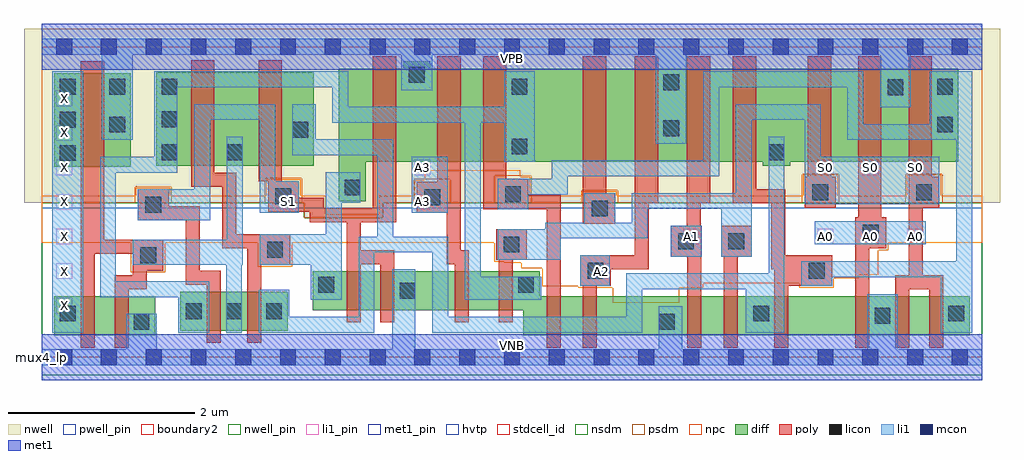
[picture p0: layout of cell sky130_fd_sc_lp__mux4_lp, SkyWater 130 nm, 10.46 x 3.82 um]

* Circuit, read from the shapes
.subckt sky130_fd_sc_lp__mux4_lp A0 A1 A2 A3 S0 S1 VGND VNB VPB VPWR X
XM1 n1 n2 X VNB sky130_fd_pr__nfet_01v8 w=0.42 l=0.15
XM2 VGND n2 n1 VNB sky130_fd_pr__nfet_01v8 w=0.42 l=0.15
XM3 n2 S1 n3 VNB sky130_fd_pr__nfet_01v8 w=0.42 l=0.15
XM4 n4 n5 n2 VNB sky130_fd_pr__nfet_01v8 w=0.42 l=0.15
XM5 n6 S1 n5 VNB sky130_fd_pr__nfet_01v8 w=0.42 l=0.15
XM6 VGND S1 n6 VNB sky130_fd_pr__nfet_01v8 w=0.42 l=0.15
XM7 n7 A3 VGND VNB sky130_fd_pr__nfet_01v8 w=0.42 l=0.15
XM8 n3 S0 n7 VNB sky130_fd_pr__nfet_01v8 w=0.42 l=0.15
XM9 n8 n9 n3 VNB sky130_fd_pr__nfet_01v8 w=0.42 l=0.15
XM10 VGND A2 n8 VNB sky130_fd_pr__nfet_01v8 w=0.42 l=0.15
XM11 n10 A1 VGND VNB sky130_fd_pr__nfet_01v8 w=0.42 l=0.15
XM12 n4 S0 n10 VNB sky130_fd_pr__nfet_01v8 w=0.42 l=0.15
XM13 n11 n9 n4 VNB sky130_fd_pr__nfet_01v8 w=0.42 l=0.15
XM14 VGND A0 n11 VNB sky130_fd_pr__nfet_01v8 w=0.42 l=0.15
XM15 n12 S0 VGND VNB sky130_fd_pr__nfet_01v8 w=0.42 l=0.15
XM16 n9 S0 n12 VNB sky130_fd_pr__nfet_01v8 w=0.42 l=0.15
XM17 VPWR n2 X VPB sky130_fd_pr__pfet_01v8_hvt w=1 l=0.25
XM18 n2 n5 n3 VPB sky130_fd_pr__pfet_01v8_hvt w=1 l=0.25
XM19 n4 S1 n2 VPB sky130_fd_pr__pfet_01v8_hvt w=1 l=0.25
XM20 VPWR S1 n5 VPB sky130_fd_pr__pfet_01v8_hvt w=1 l=0.25
XM21 n13 A3 VPWR VPB sky130_fd_pr__pfet_01v8_hvt w=1 l=0.25
XM22 n3 n9 n13 VPB sky130_fd_pr__pfet_01v8_hvt w=1 l=0.25
XM23 n14 S0 n3 VPB sky130_fd_pr__pfet_01v8_hvt w=1 l=0.25
XM24 VPWR A2 n14 VPB sky130_fd_pr__pfet_01v8_hvt w=1 l=0.25
XM25 n15 A1 VPWR VPB sky130_fd_pr__pfet_01v8_hvt w=1 l=0.25
XM26 n4 n9 n15 VPB sky130_fd_pr__pfet_01v8_hvt w=1 l=0.25
XM27 n16 S0 n4 VPB sky130_fd_pr__pfet_01v8_hvt w=1 l=0.25
XM28 VPWR A0 n16 VPB sky130_fd_pr__pfet_01v8_hvt w=1 l=0.25
XM29 n9 S0 VPWR VPB sky130_fd_pr__pfet_01v8_hvt w=1 l=0.25
.ends

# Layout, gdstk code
import gdstk
lib = gdstk.Library(unit=1e-6, precision=1e-09)
def R(c, l, rs):  # rectangles x0, y0, x1, y1
    for r in rs: c.add(gdstk.rectangle(r[:2], r[2:], *l))
def A(c, l, x, y, w, h, nx, ny, dx, dy):  # array of equal rectangles
    R(c, l, [(x+i*dx, y+j*dy, x+i*dx+w, y+j*dy+h) for i in range(nx) for j in range(ny)])
def P(c, l, *ps):  # polygons
    for p in ps: c.add(gdstk.Polygon(p, *l))
nwell_pin = (64, 16)
nwell = (64, 20)
diff = (65, 20)
poly = (66, 20)
licon = (66, 44)
li1_pin = (67, 16)
li1 = (67, 20)
mcon = (67, 44)
met1_pin = (68, 16)
met1 = (68, 20)
hvtp = (78, 44)
stdcell_id = (81, 4)
nsdm = (93, 44)
psdm = (94, 20)
npc = (95, 20)
pwell_pin = (122, 16)
boundary2 = (236, 0)

sky130_fd_sc_lp__mux4_lp = lib.new_cell('sky130_fd_sc_lp__mux4_lp')
R(sky130_fd_sc_lp__mux4_lp, nwell_pin, [(0,3.085,10.08,3.33)])
P(sky130_fd_sc_lp__mux4_lp, nwell, [(10.27,3.52),(-0.19,3.52),(-0.19,1.655),(2.815,1.655),(2.815,1.495),(3.655,1.495),(3.655,1.655),(10.27,1.655)])
R(sky130_fd_sc_lp__mux4_lp, diff, [(0.135,0.235,1.215,0.655), (1.485,0.285,2.635,0.705), (0.135,2.045,0.955,3.045), (1.225,2.055,2.915,3.055)])
P(sky130_fd_sc_lp__mux4_lp, diff, [(9.825,3.095),(4.165,3.095),(4.165,3.175),(3.875,3.175),(3.875,3.095),(3.185,3.095),(3.185,1.675),(3.475,1.675),(3.475,2.095),(7.73,2.095),(7.73,2.055),(8.02,2.055),(8.02,2.095),(9.825,2.095)],
  [(9.945,0.655),(5.335,0.655),(5.335,0.925),(2.905,0.925),(2.905,0.505),(5.16,0.505),(5.16,0.235),(9.945,0.235)])
P(sky130_fd_sc_lp__mux4_lp, poly, [(1.305,1.26),(0.67,1.26),(0.67,3.175),(0.42,3.175),(0.42,0.105),(0.57,0.105),(0.57,1.11),(0.975,1.11),(0.975,0.88),(0.78,0.88),(0.78,0.105),(0.93,0.105),(0.93,0.73),(1.125,0.73),(1.125,0.93),(1.305,0.93)],
  [(1.92,0.93),(1.695,0.93),(1.695,1.62),(1.36,1.62),(1.36,1.8),(1.03,1.8),(1.03,1.47),(1.545,1.47),(1.545,0.78),(1.77,0.78),(1.77,0.155),(1.92,0.155)],
  [(2.665,1.32),(2.085,1.32),(2.085,1.98),(1.85,1.98),(1.85,3.185),(1.6,3.185),(1.6,1.83),(1.935,1.83),(1.935,1.17),(2.2,1.17),(2.2,0.155),(2.35,0.155),(2.35,0.99),(2.665,0.99)],
  [(3.8,3.225),(3.55,3.225),(3.55,1.6),(3.025,1.6),(3.025,1.71),(2.755,1.71),(2.755,1.89),(2.575,1.89),(2.575,3.185),(2.325,3.185),(2.325,1.89),(2.425,1.89),(2.425,1.56),(2.875,1.56),(2.875,1.45),(3.27,1.45),(3.27,0.375),(3.42,0.375),(3.42,1),(3.63,1),(3.63,0.375),(3.78,0.375),(3.78,1.15),(3.42,1.15),(3.42,1.45),(3.8,1.45)],
  [(4.575,1.15),(4.49,1.15),(4.49,3.225),(4.24,3.225),(4.24,1.88),(4.02,1.88),(4.02,1.55),(4.34,1.55),(4.34,1),(4.425,1),(4.425,0.375),(4.575,0.375)],
  [(5.2,1.375),(4.87,1.375),(4.87,1.045),(4.9,1.045),(4.9,0.375),(5.05,0.375),(5.05,1.045),(5.2,1.045)],
  [(5.56,1.735),(5.215,1.735),(5.215,1.915),(4.98,1.915),(4.98,3.225),(4.73,3.225),(4.73,1.585),(5.41,1.585),(5.41,0.105),(5.56,0.105)],
  [(6.145,1.76),(6.05,1.76),(6.05,3.225),(5.8,3.225),(5.8,1.43),(6.145,1.43)],
  [(6.605,3.225),(6.355,3.225),(6.355,1.095),(5.77,1.095),(5.77,0.765),(5.8,0.765),(5.8,0.105),(5.95,0.105),(5.95,0.765),(6.1,0.765),(6.1,0.945),(6.505,0.945),(6.505,1.65),(6.605,1.65)],
  [(7.165,3.225),(6.915,3.225),(6.915,1.41),(6.74,1.41),(6.74,1.08),(6.92,1.08),(6.92,0.105),(7.07,0.105),(7.07,1.41),(7.065,1.41),(7.065,1.65),(7.165,1.65)],
  [(7.61,1.41),(7.28,1.41),(7.28,1.08),(7.31,1.08),(7.31,0.105),(7.46,0.105),(7.46,1.08),(7.61,1.08)],
  [(8.47,1.095),(7.97,1.095),(7.97,1.8),(7.655,1.8),(7.655,3.225),(7.405,3.225),(7.405,1.65),(7.82,1.65),(7.82,0.945),(7.85,0.945),(7.85,0.105),(8,0.105),(8,0.765),(8.47,0.765)],
  [(8.51,1.935),(8.46,1.935),(8.46,3.225),(8.21,3.225),(8.21,1.935),(8.18,1.935),(8.18,1.605),(8.51,1.605)],
  [(9.05,1.5),(9,1.5),(9,3.225),(8.75,3.225),(8.75,1.5),(8.72,1.5),(8.72,0.105),(8.87,0.105),(8.87,1.17),(9.05,1.17)],
  [(9.66,0.88),(9.44,0.88),(9.44,1.605),(9.62,1.605),(9.62,1.935),(9.54,1.935),(9.54,3.225),(9.29,3.225),(9.29,0.88),(9.15,0.88),(9.15,0.105),(9.3,0.105),(9.3,0.73),(9.51,0.73),(9.51,0.105),(9.66,0.105)])
A(sky130_fd_sc_lp__mux4_lp, licon, 1.545, 0.41, 0.17, 0.17, 3, 1, 0.43, 0)
A(sky130_fd_sc_lp__mux4_lp, licon, 0.195, 2.105, 0.17, 0.17, 1, 3, 0, 0.355)
A(sky130_fd_sc_lp__mux4_lp, licon, 1.285, 2.115, 0.17, 0.17, 1, 3, 0, 0.35)
R(sky130_fd_sc_lp__mux4_lp, licon, [(0.985,0.295,1.155,0.465), (6.615,0.295,6.785,0.465), (8.925,0.36,9.095,0.53), (0.195,0.385,0.365,0.555), (7.625,0.385,7.795,0.555), (9.715,0.385,9.885,0.555), (3.835,0.63,4.005,0.8), (2.965,0.695,3.135,0.865), (5.105,0.695,5.275,0.865), (5.85,0.845,6.02,1.015), (8.22,0.845,8.39,1.015), (1.055,1.01,1.225,1.18), (2.415,1.07,2.585,1.24), (4.95,1.125,5.12,1.295), (6.82,1.16,6.99,1.33), (7.36,1.16,7.53,1.33), (8.8,1.25,8.97,1.42), (5.895,1.51,6.065,1.68), (1.11,1.55,1.28,1.72), (4.1,1.63,4.27,1.8), (2.505,1.64,2.675,1.81), (4.965,1.665,5.135,1.835), (8.26,1.685,8.43,1.855), (9.37,1.685,9.54,1.855), (3.245,1.735,3.415,1.905), (1.985,2.115,2.155,2.285), (7.79,2.115,7.96,2.285), (5.035,2.175,5.205,2.345), (2.685,2.355,2.855,2.525), (6.66,2.37,6.83,2.54), (0.725,2.41,0.895,2.58), (9.595,2.41,9.765,2.58), (9.065,2.81,9.235,2.98), (0.725,2.815,0.895,2.985), (5.035,2.815,5.205,2.985), (9.595,2.815,9.765,2.985), (6.66,2.865,6.83,3.035), (3.935,2.945,4.105,3.115)])
A(sky130_fd_sc_lp__mux4_lp, li1_pin, 0.155, 0.47, 0.17, 0.17, 1, 7, 0, 0.37)
A(sky130_fd_sc_lp__mux4_lp, li1_pin, 8.315, 1.21, 0.17, 0.17, 3, 2, 0.48, 0.74)
R(sky130_fd_sc_lp__mux4_lp, li1_pin, [(5.915,0.84,6.085,1.01), (6.875,1.21,7.045,1.38), (2.555,1.58,2.725,1.75), (3.995,1.58,4.165,1.75), (3.995,1.95,4.165,2.12)])
R(sky130_fd_sc_lp__mux4_lp, li1, [(0.115,0.265,0.445,3.065), (5.77,0.765,6.085,1.095), (6.74,1.08,7.075,1.41), (8.285,1.21,9.475,1.46), (3.965,1.55,4.35,2.15)])
P(sky130_fd_sc_lp__mux4_lp, li1, [(0.645,2.33),(0.645,3.245),(0,3.245),(0,3.415),(10.08,3.415),(10.08,3.245),(9.315,3.245),(9.315,2.68),(8.985,2.68),(8.985,3.245),(6.91,3.245),(6.91,2.29),(6.58,2.29),(6.58,3.245),(4.185,3.245),(4.185,2.865),(3.855,2.865),(3.855,3.245),(0.975,3.245),(0.975,2.33)],
  [(3.755,0.085),(3.755,0.945),(4.005,0.945),(4.005,0.085),(6.615,0.085),(6.615,0.55),(6.865,0.55),(6.865,0.085),(8.845,0.085),(8.845,0.675),(9.175,0.675),(9.175,0.085),(10.08,0.085),(10.08,-0.085),(0,-0.085),(0,0.085),(0.905,0.085),(0.905,0.465),(1.235,0.465),(1.235,0.085)],
  [(8.35,2.15),(9.62,2.15),(9.62,1.64),(8.18,1.64),(8.18,2.545),(7.61,2.545),(7.61,1.08),(7.28,1.08),(7.28,1.59),(6.495,1.59),(6.495,1.275),(5.565,1.275),(5.565,1.045),(4.885,1.045),(4.885,1.375),(5.395,1.375),(5.395,1.445),(5.815,1.445),(5.815,1.76),(6.145,1.76),(6.145,1.445),(6.325,1.445),(6.325,1.76),(7.44,1.76),(7.44,2.715),(8.35,2.715)],
  [(2.335,1.55),(2.335,2.545),(1.805,2.545),(1.805,1.47),(1.03,1.47),(1.03,1.8),(1.635,1.8),(1.635,2.715),(2.505,2.715),(2.505,1.89),(2.755,1.89),(2.755,1.55)],
  [(3.395,1.295),(3.595,1.295),(3.595,2.165),(2.685,2.165),(2.685,2.715),(2.935,2.715),(2.935,2.335),(3.765,2.335),(3.765,1.295),(4.355,1.295),(4.355,0.435),(6.265,0.435),(6.265,0.9),(7.79,0.9),(7.79,2.365),(7.96,2.365),(7.96,0.265),(7.545,0.265),(7.545,0.73),(6.435,0.73),(6.435,0.265),(4.185,0.265),(4.185,1.125),(3.565,1.125),(3.565,0.265),(2.325,0.265),(2.325,0.725),(2.655,0.725),(2.655,0.435),(3.395,0.435)],
  [(8.635,2.895),(7.26,2.895),(7.26,1.94),(5.635,1.94),(5.635,1.745),(5.215,1.745),(5.215,1.585),(4.885,1.585),(4.885,1.915),(5.465,1.915),(5.465,2.11),(7.09,2.11),(7.09,3.065),(8.805,3.065),(8.805,2.5),(9.515,2.5),(9.515,3.065),(9.97,3.065),(9.97,0.265),(9.635,0.265),(9.635,0.86),(8.47,0.86),(8.47,0.765),(8.14,0.765),(8.14,1.03),(9.8,1.03),(9.8,2.33),(8.635,2.33)],
  [(3.045,1.985),(3.415,1.985),(3.415,1.655),(3.215,1.655),(3.215,0.615),(2.885,0.615),(2.885,0.99),(2.335,0.99),(2.335,1.32),(3.045,1.32)],
  [(0.625,0.645),(0.625,2.15),(1.205,2.15),(1.205,3.065),(3.285,3.065),(3.285,2.685),(4.955,2.685),(4.955,3.065),(5.285,3.065),(5.285,2.095),(4.955,2.095),(4.955,2.515),(4.705,2.515),(4.705,0.865),(5.355,0.865),(5.355,0.615),(4.535,0.615),(4.535,2.515),(3.115,2.515),(3.115,2.895),(1.455,2.895),(1.455,1.98),(0.795,1.98),(0.795,0.815),(1.795,0.815),(1.795,0.265),(1.465,0.265),(1.465,0.645)],
  [(2.155,0.995),(2.145,0.995),(2.145,0.265),(1.975,0.265),(1.975,0.995),(0.975,0.995),(0.975,1.26),(1.985,1.26),(1.985,2.365),(2.155,2.365)])
A(sky130_fd_sc_lp__mux4_lp, mcon, 0.155, -0.085, 0.17, 0.17, 21, 2, 0.48, 3.33)
R(sky130_fd_sc_lp__mux4_lp, met1_pin, [(0,0,10.08,0.245), (0,3.085,10.08,3.33)])
R(sky130_fd_sc_lp__mux4_lp, met1, [(0,-0.245,10.08,0.245), (0,3.085,10.08,3.575)])
R(sky130_fd_sc_lp__mux4_lp, hvtp, [(0,1.6,10.08,3.33)])
R(sky130_fd_sc_lp__mux4_lp, stdcell_id, [(0,0,10.08,3.33)])
P(sky130_fd_sc_lp__mux4_lp, nsdm, [(10.08,1.655),(3.655,1.655),(3.655,1.495),(2.815,1.495),(2.815,1.655),(0,1.655),(0,-0.19),(10.08,-0.19)])
P(sky130_fd_sc_lp__mux4_lp, psdm, [(10.08,3.52),(0,3.52),(0,1.655),(1,1.655),(1,1.83),(1.39,1.83),(1.39,1.655),(2.395,1.655),(2.395,1.92),(2.785,1.92),(2.785,1.655),(2.815,1.655),(2.815,1.495),(3.655,1.495),(3.655,1.655),(3.99,1.655),(3.99,1.91),(4.38,1.91),(4.38,1.655),(4.855,1.655),(4.855,1.945),(5.245,1.945),(5.245,1.655),(5.785,1.655),(5.785,1.79),(6.175,1.79),(6.175,1.655),(8.15,1.655),(8.15,1.965),(8.54,1.965),(8.54,1.655),(9.26,1.655),(9.26,1.965),(9.65,1.965),(9.65,1.655),(10.08,1.655)])
P(sky130_fd_sc_lp__mux4_lp, npc, [(10.08,1.73),(9.64,1.73),(9.64,1.955),(9.27,1.955),(9.27,1.73),(8.53,1.73),(8.53,1.955),(8.16,1.955),(8.16,1.73),(6.165,1.73),(6.165,1.78),(5.795,1.78),(5.795,1.73),(5.235,1.73),(5.235,1.935),(5.13,1.935),(5.13,2.005),(4.105,2.005),(4.105,1.9),(4,1.9),(4,1.73),(3.615,1.73),(3.615,1.535),(3.045,1.535),(3.045,1.73),(2.775,1.73),(2.775,1.91),(2.405,1.91),(2.405,1.73),(1.38,1.73),(1.38,1.82),(1.01,1.82),(1.01,1.73),(0,1.73),(0,1.23),(0.955,1.23),(0.955,0.91),(1.325,0.91),(1.325,1.23),(2.315,1.23),(2.315,0.97),(2.685,0.97),(2.685,1.23),(4.85,1.23),(4.85,1.025),(4.955,1.025),(4.955,1.015),(5.14,1.015),(5.14,0.955),(5.365,0.955),(5.365,0.76),(5.75,0.76),(5.75,0.745),(6.12,0.745),(6.12,0.585),(6.83,0.585),(6.83,0.745),(7.09,0.745),(7.09,0.795),(8.12,0.795),(8.12,0.745),(8.49,0.745),(8.49,0.85),(8.755,0.85),(8.755,0.885),(8.965,0.885),(8.965,1.15),(9.07,1.15),(9.07,1.23),(10.08,1.23)])
R(sky130_fd_sc_lp__mux4_lp, pwell_pin, [(0,0,10.08,0.245)])
R(sky130_fd_sc_lp__mux4_lp, boundary2, [(0,0,10.08,3.33)])
sky130_fd_sc_lp__mux4_lp.add(gdstk.Label('VNB', (5.04,0.123), layer=64, texttype=59))
sky130_fd_sc_lp__mux4_lp.add(gdstk.Label('VPB', (5.04,3.208), layer=64, texttype=5))
sky130_fd_sc_lp__mux4_lp.add(gdstk.Label('mux4_lp', (0,0), layer=83, texttype=44))
sky130_fd_sc_lp__mux4_lp.add(gdstk.Label('VPWR', (5.04,3.208), layer=68, texttype=5))
sky130_fd_sc_lp__mux4_lp.add(gdstk.Label('VGND', (5.04,0.123), layer=68, texttype=5))
sky130_fd_sc_lp__mux4_lp.add(gdstk.Label('S0', (8.4,2.035), layer=67, texttype=5))
sky130_fd_sc_lp__mux4_lp.add(gdstk.Label('S0', (8.88,2.035), layer=67, texttype=5))
sky130_fd_sc_lp__mux4_lp.add(gdstk.Label('S0', (9.36,2.035), layer=67, texttype=5))
sky130_fd_sc_lp__mux4_lp.add(gdstk.Label('A3', (4.08,1.665), layer=67, texttype=5))
sky130_fd_sc_lp__mux4_lp.add(gdstk.Label('A3', (4.08,2.035), layer=67, texttype=5))
sky130_fd_sc_lp__mux4_lp.add(gdstk.Label('A2', (6,0.925), layer=67, texttype=5))
sky130_fd_sc_lp__mux4_lp.add(gdstk.Label('A1', (6.96,1.295), layer=67, texttype=5))
sky130_fd_sc_lp__mux4_lp.add(gdstk.Label('A0', (8.4,1.295), layer=67, texttype=5))
sky130_fd_sc_lp__mux4_lp.add(gdstk.Label('A0', (8.88,1.295), layer=67, texttype=5))
sky130_fd_sc_lp__mux4_lp.add(gdstk.Label('A0', (9.36,1.295), layer=67, texttype=5))
sky130_fd_sc_lp__mux4_lp.add(gdstk.Label('X', (0.24,0.555), layer=67, texttype=5))
sky130_fd_sc_lp__mux4_lp.add(gdstk.Label('X', (0.24,0.925), layer=67, texttype=5))
sky130_fd_sc_lp__mux4_lp.add(gdstk.Label('X', (0.24,1.295), layer=67, texttype=5))
sky130_fd_sc_lp__mux4_lp.add(gdstk.Label('X', (0.24,1.665), layer=67, texttype=5))
sky130_fd_sc_lp__mux4_lp.add(gdstk.Label('X', (0.24,2.035), layer=67, texttype=5))
sky130_fd_sc_lp__mux4_lp.add(gdstk.Label('X', (0.24,2.405), layer=67, texttype=5))
sky130_fd_sc_lp__mux4_lp.add(gdstk.Label('X', (0.24,2.775), layer=67, texttype=5))
sky130_fd_sc_lp__mux4_lp.add(gdstk.Label('S1', (2.64,1.665), layer=67, texttype=5))

lib.write_gds('sky130_fd_sc_lp__mux4_lp.gds')
